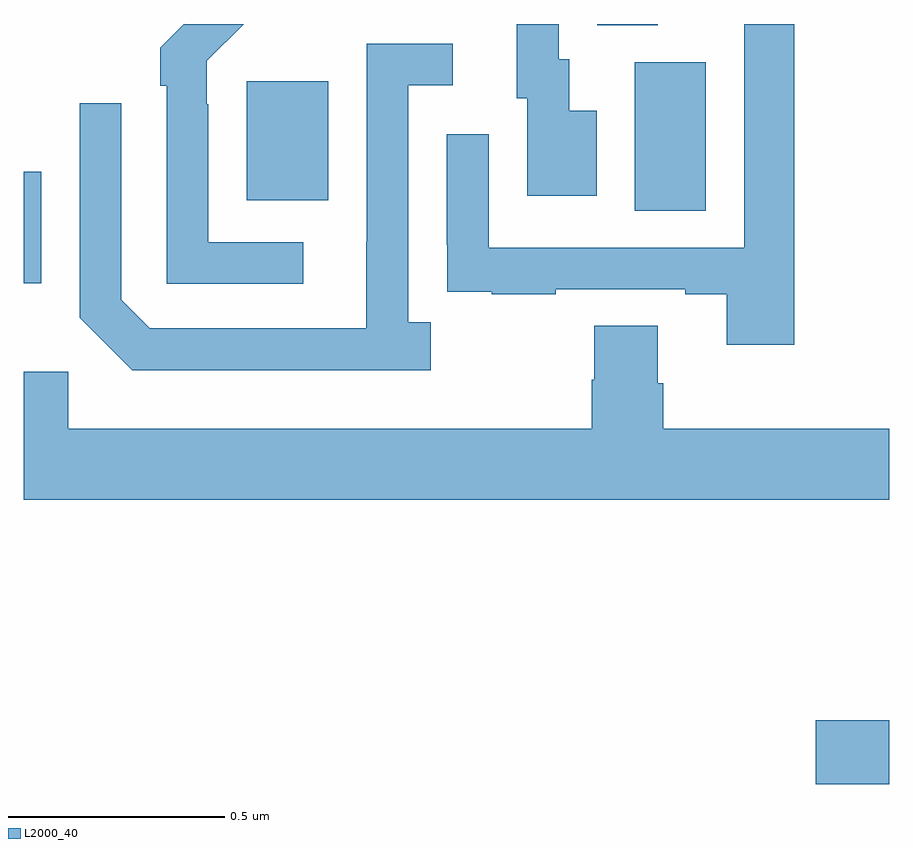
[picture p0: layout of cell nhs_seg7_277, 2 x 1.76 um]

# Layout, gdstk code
import gdstk
lib = gdstk.Library(unit=1e-6, precision=1e-09)
def R(c, l, rs):  # rectangles x0, y0, x1, y1
    for r in rs: c.add(gdstk.rectangle(r[:2], r[2:], *l))
def P(c, l, *ps):  # polygons
    for p in ps: c.add(gdstk.Polygon(p, *l))
L2000_40 = (2000, 40)

nhs_seg7_277 = lib.new_cell('nhs_seg7_277')
R(nhs_seg7_277, L2000_40, [(115.83,1049.243,116,1049.39), (114,1050.401,114.04,1050.658), (115.412,1050.568,115.576,1050.912), (114.515,1050.593,114.703,1050.868), (115.325,1050.997,115.465,1051)])
P(nhs_seg7_277, L2000_40, [(115.781,1051),(115.593,1051),(115.593,1050.999),(115.665,1050.999),(115.665,1050.483),(115.074,1050.483),(115.074,1050.745),(114.978,1050.745),(114.978,1050.49),(114.979,1050.49),(114.979,1050.381),(115.081,1050.381),(115.081,1050.375),(115.229,1050.375),(115.229,1050.387),(115.529,1050.387),(115.529,1050.375),(115.625,1050.375),(115.625,1050.258),(115.781,1050.258)],
  [(114.646,1050.495),(114.426,1050.495),(114.426,1050.815),(114.423,1050.815),(114.423,1050.915),(114.508,1051),(114.37,1051),(114.315,1050.945),(114.315,1050.857),(114.33,1050.857),(114.33,1050.399),(114.646,1050.399)],
  [(115.324,1050.799),(115.261,1050.799),(115.261,1050.918),(115.236,1050.918),(115.236,1051),(115.139,1051),(115.139,1050.828),(115.163,1050.828),(115.163,1050.603),(115.324,1050.603)],
  [(114.94,1050.31),(114.888,1050.31),(114.888,1050.858),(114.991,1050.858),(114.991,1050.954),(114.792,1050.954),(114.792,1050.497),(114.791,1050.497),(114.791,1050.297),(114.291,1050.297),(114.225,1050.363),(114.225,1050.817),(114.129,1050.817),(114.129,1050.321),(114.25,1050.2),(114.94,1050.2)],
  [(116,1050.064),(115.478,1050.064),(115.478,1050.17),(115.465,1050.17),(115.465,1050.302),(115.318,1050.302),(115.318,1050.177),(115.313,1050.177),(115.313,1050.064),(114.102,1050.064),(114.102,1050.196),(114,1050.196),(114,1049.9),(116,1049.9)])

lib.write_gds('nhs_seg7_277.gds')
